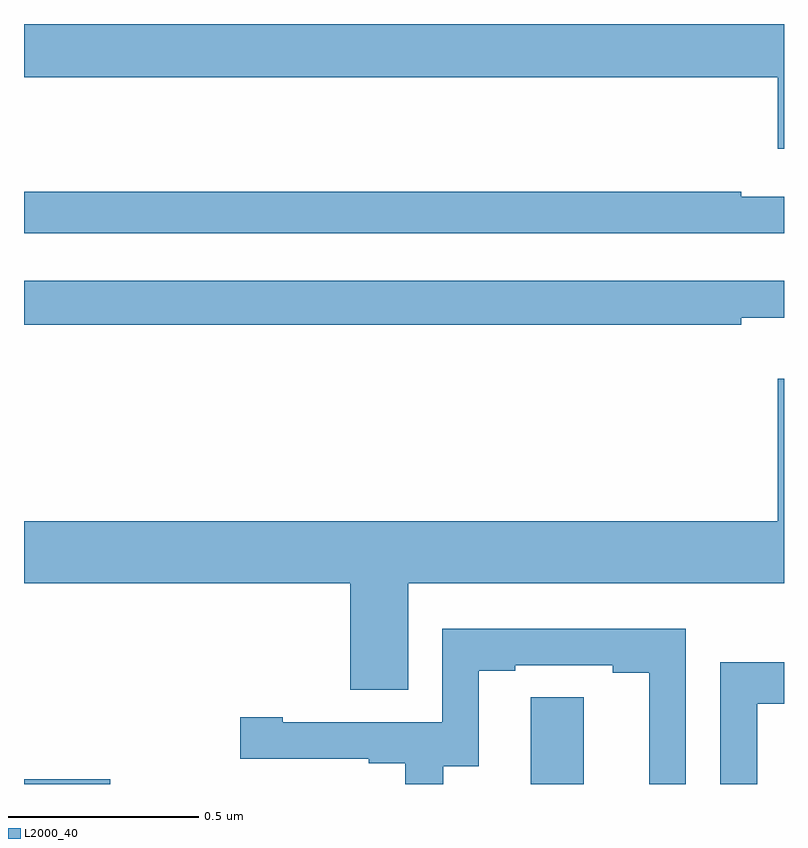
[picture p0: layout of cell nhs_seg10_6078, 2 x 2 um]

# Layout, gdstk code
import gdstk
lib = gdstk.Library(unit=1e-6, precision=1e-09)
def R(c, l, rs):  # rectangles x0, y0, x1, y1
    for r in rs: c.add(gdstk.rectangle(r[:2], r[2:], *l))
def P(c, l, *ps):  # polygons
    for p in ps: c.add(gdstk.Polygon(p, *l))
L2000_40 = (2000, 40)

nhs_seg10_6078 = lib.new_cell('nhs_seg10_6078')
R(nhs_seg10_6078, L2000_40, [(187,1254.5,187.227,1254.512)])
P(nhs_seg10_6078, L2000_40, [(189,1256.5),(187,1256.5),(187,1256.36),(188.984,1256.36),(188.984,1256.172),(189,1256.172)],
  [(189,1256.046),(188.888,1256.046),(188.888,1256.059),(187,1256.059),(187,1255.95),(189,1255.95)],
  [(188.888,1255.727),(189,1255.727),(189,1255.824),(187,1255.824),(187,1255.708),(188.888,1255.708)],
  [(188.011,1255.028),(189,1255.028),(189,1255.567),(188.984,1255.567),(188.984,1255.192),(187,1255.192),(187,1255.028),(187.859,1255.028),(187.859,1254.748),(188.011,1254.748)],
  [(188.103,1254.547),(188.197,1254.547),(188.197,1254.798),(188.293,1254.798),(188.293,1254.813),(188.549,1254.813),(188.549,1254.793),(188.645,1254.793),(188.645,1254.5),(188.742,1254.5),(188.742,1254.909),(188.1,1254.909),(188.1,1254.663),(187.681,1254.663),(187.681,1254.676),(187.569,1254.676),(187.569,1254.567),(187.907,1254.567),(187.907,1254.555),(188.003,1254.555),(188.003,1254.5),(188.103,1254.5)],
  [(188.929,1254.711),(189,1254.711),(189,1254.821),(188.832,1254.821),(188.832,1254.5),(188.929,1254.5)],
  [(188.473,1254.728),(188.334,1254.728),(188.334,1254.62),(188.333,1254.62),(188.333,1254.5),(188.473,1254.5)])

lib.write_gds('nhs_seg10_6078.gds')
